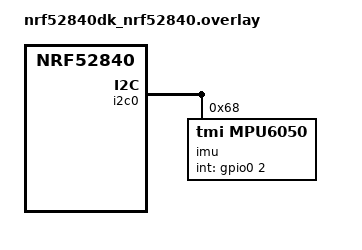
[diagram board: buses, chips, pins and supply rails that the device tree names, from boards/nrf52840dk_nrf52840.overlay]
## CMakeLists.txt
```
# SPDX-License-Identifier: Apache-2.0

cmake_minimum_required(VERSION 3.20.0)
find_package(Zephyr REQUIRED HINTS $ENV{ZEPHYR_BASE})
project(app)

target_sources(app PRIVATE
	src/main.c
	src/hardware_config.c
)
```

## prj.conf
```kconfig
CONFIG_LOG=y
CONFIG_TMI_DRIVER_MPU6050=y
CONFIG_TMI_DRIVER_MPU6050_TRIGGER_GLOBAL_THREAD=y
```

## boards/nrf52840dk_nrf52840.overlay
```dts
&i2c0 {
	status = "okay";
	pinctrl-0 = <&i2c0_default>;
	pinctrl-1 = <&i2c0_sleep>;
	pinctrl-names = "default", "sleep";

	imu: mpu6050@68 {
		compatible = "tmi,mpu6050";
		reg = <0x68>;
		label = "imu";
		status = "okay";
		gyro-fs-dps = <250>;
		accel-fs-mg = <2000>;
		/* MPU6050 INT pin wired to P0.02. Demonstrates the
		 * interrupt-driven data-ready trigger; boards without an
		 * int-gpios property fall back to polling in the app.
		 */
		int-gpios = <&gpio0 2 GPIO_ACTIVE_HIGH>;
	};
};
```

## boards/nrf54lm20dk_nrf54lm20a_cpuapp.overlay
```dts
&pinctrl {
	i2c30_default: i2c30_default {
		group1 {
			psels = <NRF_PSEL(TWIM_SDA, 0, 10)>,
				<NRF_PSEL(TWIM_SCL, 0, 11)>;
		};
	};

	i2c30_sleep: i2c30_sleep {
		group1 {
			psels = <NRF_PSEL(TWIM_SDA, 0, 10)>,
				<NRF_PSEL(TWIM_SCL, 0, 11)>;
			low-power-enable;
		};
	};
};

&i2c30 {
	status = "okay";
	pinctrl-0 = <&i2c30_default>;
	pinctrl-1 = <&i2c30_sleep>;
	pinctrl-names = "default", "sleep";

	/* No int-gpios: this board demonstrates the app's polling fallback
	 * when no interrupt pin is wired up for imu0. */
	imu0: mpu6050@68 {
		compatible = "tmi,mpu6050";
		reg = <0x68>;
		label = "MPU6050";
		status = "okay";
		gyro-fs-dps = <250>;
		accel-fs-mg = <2000>;
	};
};

/ {
	aliases {
		i2c0 = &i2c30;
	};
};
```

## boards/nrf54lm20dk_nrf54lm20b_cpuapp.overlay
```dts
&pinctrl {
	i2c21_default: i2c21_default {
		group1 {
			psels = <NRF_PSEL(TWIM_SDA, 1, 12)>,
				<NRF_PSEL(TWIM_SCL, 1, 13)>;
		};
	};

	i2c21_sleep: i2c21_sleep {
		group1 {
			psels = <NRF_PSEL(TWIM_SDA, 1, 12)>,
				<NRF_PSEL(TWIM_SCL, 1, 13)>;
			low-power-enable;
		};
	};
};

&i2c21 {
	status = "okay";
	pinctrl-0 = <&i2c21_default>;
	pinctrl-1 = <&i2c21_sleep>;
	pinctrl-names = "default", "sleep";

	/* No int-gpios: this board demonstrates the app's polling fallback
	 * when no interrupt pin is wired up for imu.
	 */
	imu: mpu6050@68 {
		compatible = "tmi,mpu6050";
		reg = <0x68>;
		label = "imu";
		status = "okay";
		gyro-fs-dps = <250>;
		accel-fs-mg = <2000>;
	};
};
```

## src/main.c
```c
#include <zephyr/kernel.h>
#include <zephyr/drivers/sensor.h>
#include <zephyr/logging/log.h>

LOG_MODULE_REGISTER(app);

const struct device *imu = DEVICE_DT_GET(DT_NODELABEL(imu));

#define ERROR_LOOP(...)                                                                            \
	do {                                                                                       \
		while (1) {                                                                        \
			LOG_ERR(__VA_ARGS__);                                                      \
			k_msleep(1000);                                                            \
		}                                                                                  \
	} while (0)

static void print_accel(const struct device *dev)
{
	struct sensor_value accel[3];
	int ret = sensor_channel_get(dev, SENSOR_CHAN_ACCEL_XYZ, accel);
	if (ret != 0) {
		LOG_ERR("Get Accel failed: %d", ret);
		return;
	}

	LOG_PRINTK(">ax:%.3f,ay:%.3f,az:%.3f\n", sensor_value_to_double(&accel[0]),
		   sensor_value_to_double(&accel[1]), sensor_value_to_double(&accel[2]));
}

/**
 * @brief Fires from the driver's interrupt thread/workqueue whenever a new
 * sample is ready, so no polling loop is needed on boards that have an
 * int-gpios pin wired up.
 */
static void data_ready_handler(const struct device *dev, const struct sensor_trigger *trig)
{
	int ret = sensor_sample_fetch_chan(dev, SENSOR_CHAN_ACCEL_XYZ);
	if (ret != 0) {
		LOG_ERR("Get Accel failed: %d", ret);
		return;
	}

	print_accel(dev);
}

int main(void)
{
	const struct sensor_trigger trig = {
		.type = SENSOR_TRIG_DATA_READY,
		.chan = SENSOR_CHAN_ACCEL_XYZ,
	};

	/* -ENOTSUP means the board has no int-gpios wired up for imu; fall
	 * back to polling so the same app works either way. */
	int ret = sensor_trigger_set(imu, &trig, data_ready_handler);
	if (ret == 0) {
		LOG_INF("Data-ready interrupt configured, waiting for samples");
		while (1) {
			k_sleep(K_FOREVER);
		}
	} else if (ret != -ENOTSUP) {
		ERROR_LOOP("Failed to set data ready trigger: %d", ret);
	}

	LOG_INF("No int-gpios for imu, polling instead");

	while (1) {
		ret = sensor_sample_fetch_chan(imu, SENSOR_CHAN_ACCEL_XYZ);
		if (ret != 0) {
			LOG_ERR("Get Accel failed: %d", ret);
		}

		print_accel(imu);

		k_msleep(500);
	}
}
```

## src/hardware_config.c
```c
#include <tmi/api/imu.h>
#include <zephyr/logging/log.h>

extern const tmi_imu_api_t mpu6050_api;
#define IMU0_API mpu6050_api

tmi_imu_config_t imu0_config = {
	.bus = DEVICE_DT_GET(DT_ALIAS(i2c0)),
	.addr = 0x68,
	.accel_fs_mG = 2000,
	.gyro_fs_dps = 250,
};

tmi_imu_data_t imu0_data = {
	.accel_iir = {.x = 0, .y = 0, .z = 0},
	.gyro_iir = {.x = 0, .y = 0, .z = 0},
};

struct device imu0 = {
	.config = &imu0_config,
	.api = &IMU0_API,
	.data = &imu0_data,
};
```
